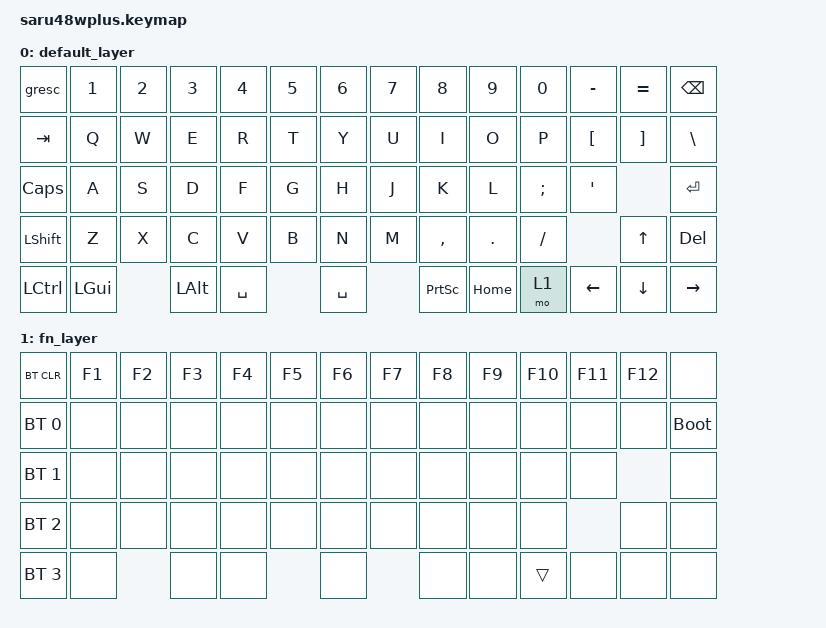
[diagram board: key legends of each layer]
/*
 * Copyright (c) 2023 Salvatore La Bua
 *
 * SPDX-License-Identifier: MIT
 */

#include <behaviors.dtsi>
#include <dt-bindings/zmk/bt.h>
#include <dt-bindings/zmk/keys.h>
#include <dt-bindings/zmk/outputs.h>


/ {
    keymap {
        compatible = "zmk,keymap";

        default_layer {
            // ------------------------------------------------------------------------------------------
            // | ESC |  1  |  2  |  3  |  4  |  5  |  6  |  7  |  8  |  9  |  0  |  -  |  =  |   BKSP   |
            // | TAB  |  Q  |  W  |  E  |  R  |  T  |  Y  |  U  |  I  |  O  |  P  |  [  |  ]  |   "|"   |
            // | CAPS  |  A  |  S  |  D  |  F  |  G  |  H  |  J  |  K  |  L  |  ;  |  '  |     ENTER    |
            // |  SHIFT  |  Z  |  X  |  C  |  V  |  B  |  N  |  M  |  ,  |  .  |  /  |      UP  |  DEL  |
            // |  CTL  |  WIN  |  ALT  |      SPACE  |   SPACE    | PSC | HOME|MO(1)| LEFT |DOWN| RIGHT |
            // ------------------------------------------------------------------------------------------     

            bindings = <
&gresc     &kp N1    &kp N2  &kp N3    &kp N4  &kp N5  &kp N6     &kp N7  &kp N8     &kp N9   &kp N0    &kp MINUS  &kp EQUAL  &kp BSPC
&kp TAB    &kp Q     &kp W   &kp E     &kp R   &kp T   &kp Y      &kp U   &kp I      &kp O    &kp P     &kp LBKT   &kp RBKT   &kp BSLH
&kp CLCK   &kp A     &kp S   &kp D     &kp F   &kp G   &kp H      &kp J   &kp K      &kp L    &kp SEMI  &kp SQT               &kp RET
&kp LSHFT  &kp Z     &kp X   &kp C     &kp V   &kp B   &kp N      &kp M   &kp COMMA  &kp DOT  &kp FSLH             &kp UP     &kp DEL
&kp LCTRL  &kp LGUI        &kp LALT       &kp SPACE        &kp SPACE       &kp PSCRN  &kp HOME   &mo 1  &kp LEFT   &kp DOWN   &kp RIGHT
          >;
        };
                fn_layer {
            // ------------------------------------------------------------------------------------------------
            // | BT CLR | F1  | F2  | F3  | F4  | F5  | F6  | F7  | F8  | F9  | F10  | F11 | F12 | EFFECT REV |
            // |  BT 1   |   |  UP |   | HUEUP | SATUP | BRIUP | SPDUP |   |     |    |     |     |           |
            // |   BT 2   | LT |  DN  | RT | HUEDN | SATDN | BRIDN | SPDDN |   |     |   |     |  EFFECT FORW |
            // |    BT 3     |     |      |      |     |     |     |     |     |     |     |                  |
            // |   BT 4  |      |      |             TOG RGB                | PRT SCR |       |       |  DEL  |
            // ------------------------------------------------------------------------------------------------

            bindings = <
&bt BT_CLR    &kp F1    &kp F2   &kp F3     &kp F4    &kp F5    &kp F6     &kp F7     &kp F8     &kp F9     &kp F10    &kp F11   &kp F12  &none
&bt BT_SEL 0  &none     &none    &none      &none     &none     &none      &none      &none      &none      &none      &none     &none    &bootloader
&bt BT_SEL 1  &none     &none    &none      &none     &none     &none      &none      &none      &none      &none      &none              &none
&bt BT_SEL 2  &none     &none    &none      &none     &none     &none      &none      &none      &none      &none                &none    &none
&bt BT_SEL 3  &none        &none       &none        &none       &none                   &none                     &trans  &none   &none   &none
            >;
    };
};
};
